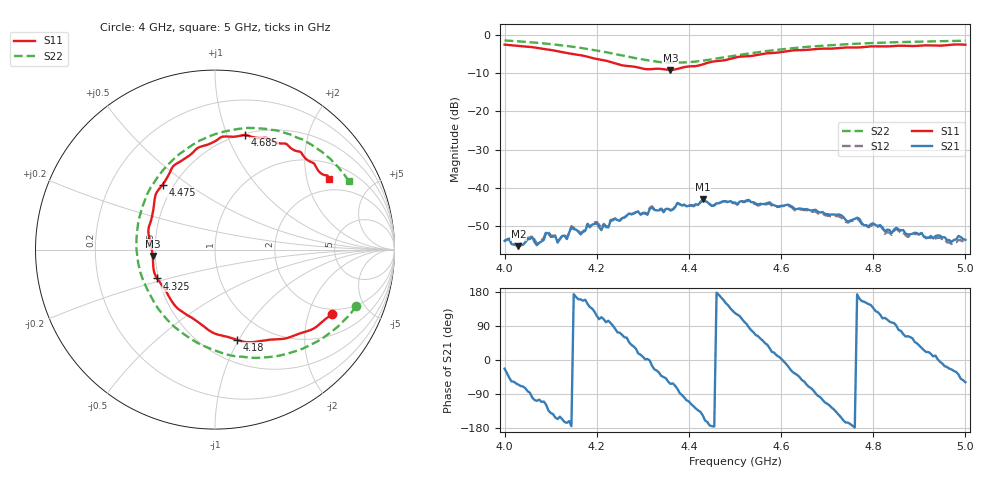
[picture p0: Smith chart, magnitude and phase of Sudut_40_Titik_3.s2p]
# Hz S RI R 50
! CMT, C1220, 16058040, 17.2.0/1
! Date: 15/08/2018 12:37:12
! Data: Format (Calibration Info)
! Freq  S11: Re/Im (F2)  S21: Re/Im (F2)  S12: Re/Im (F2)  S22: Re/Im (F2)
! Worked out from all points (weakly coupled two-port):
!   201 points, 4 GHz to 5 GHz, reference 50 ohm
!   highest |S21| = -42.95 dB at 4.43 GHz (marker M1); lowest = -55.2 dB at 4.03 GHz (marker M2)
!   lowest |S11| = -9.2 dB at 4.36 GHz (marker M3), VSWR 2.07, Z = 24.2 - j1.98 ohm
!   |S11| at or under -10 dB: nowhere
!   |S22| runs from -7.3 to -1.4 dB; largest |S21 - S12| = 0.00031
!   S11 on the Smith chart (normalised r, x): 4 GHz: 1.78, -2.89; 4.18 GHz: 0.72, -0.99; 4.325 GHz: 0.49, -0.18; 4.475 GHz: 0.43, +0.40; 4.685 GHz: 0.51, +1.16; 5 GHz: 1.55, +2.73
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4e9  0.6539 -0.36  0.00188 -0.000796  0.00192 -0.000809  0.7857 -0.316
4.03e9  0.5966 -0.404  0.000733 -0.00158  0.000891 -0.0016  0.7314 -0.3828
4.06e9  0.5251 -0.4507  -0.000364 -0.00226  -0.000325 -0.00236  0.6639 -0.4459
4.07e9  0.4986 -0.4589  -0.000545 -0.0017  -0.000521 -0.00178  0.638 -0.4656
4.09e9  0.4365 -0.4808  -0.00122 -0.0023  -0.00122 -0.00239  0.583 -0.5043
4.115e9  0.3551 -0.499  -0.00177 -0.000789  -0.00183 -0.000845  0.5044 -0.5442
4.135e9  0.2864 -0.5046  -0.00209 -0.000528  -0.00212 -0.000582  0.4345 -0.5699
4.145e9  0.2474 -0.5102  -0.00305 -0.000286  -0.00315 -0.000434  0.3966 -0.5815
4.17e9  0.1573 -0.5129  -0.00244 0.00106  -0.00252 0.000987  0.3018 -0.5986
4.18e9  0.1247 -0.5038  -0.00281 0.00176  -0.00293 0.00176  0.2594 -0.6018
4.21e9  0.0156 -0.4735  -0.0011 0.00261  -0.00118 0.00275  0.1311 -0.5957
4.27e9  -0.1876 -0.3427  0.00317 0.0034  0.00318 0.00341  -0.1289 -0.5009
4.325e9  -0.3222 -0.1605  0.0047 -0.00217  0.00479 -0.00221  -0.329 -0.3102
4.335e9  -0.3382 -0.1285  0.00427 -0.00279  0.0044 -0.00285  -0.354 -0.2661
4.36e9  -0.3468 -0.0359  0.00231 -0.00454  0.00224 -0.00463  -0.4087 -0.1494
4.43e9  -0.3425 0.2288  -0.00591 -0.00397  -0.0059 -0.0039  -0.4162 0.1983
4.475e9  -0.2921 0.3623  -0.00623 0.00249  -0.0062 0.00265  -0.3337 0.3826
4.5e9  -0.2462 0.4414  -0.00359 0.00537  -0.00343 0.00534  -0.2719 0.4626
4.67e9  0.1415 0.634  0.00086 -0.00508  0.000692 -0.00485  0.2101 0.6774
4.685e9  0.1679 0.6383  -0.000664 -0.00474  -0.000665 -0.00455  0.2498 0.6753
4.835e9  0.4456 0.5518  -0.000563 0.00277  -0.000521 0.00255  0.5535 0.5738
5e9  0.6351 0.3909  0.0011 -0.0018  0.00101 -0.00158  0.7474 0.3803
